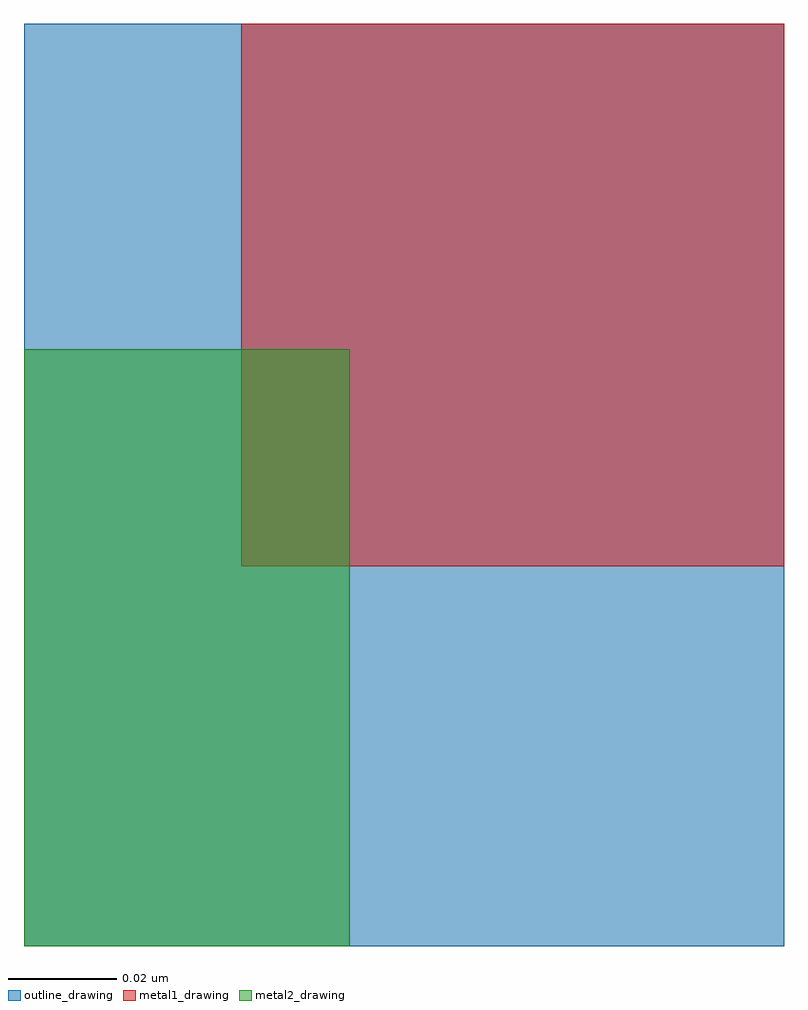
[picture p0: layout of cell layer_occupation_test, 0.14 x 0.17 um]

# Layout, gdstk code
import gdstk
lib = gdstk.Library(unit=1e-6, precision=1e-09)
def R(c, l, rs):  # rectangles x0, y0, x1, y1
    for r in rs: c.add(gdstk.rectangle(r[:2], r[2:], *l))
metal1_drawing = (8, 0)
metal2_drawing = (10, 0)
outline_drawing = (255, 255)

layer_occupation_test = lib.new_cell('layer_occupation_test')
R(layer_occupation_test, metal1_drawing, [(0,0,0.1,0.1)])
R(layer_occupation_test, metal2_drawing, [(-0.04,-0.07,0.02,0.04)])
R(layer_occupation_test, outline_drawing, [(-0.04,-0.07,0.02,0.04), (-0.04,-0.07,0.1,0.1), (-0.04,-0.07,0.1,0.1), (0,0,0.1,0.1)])

lib.write_gds('layer_occupation_test.gds')
